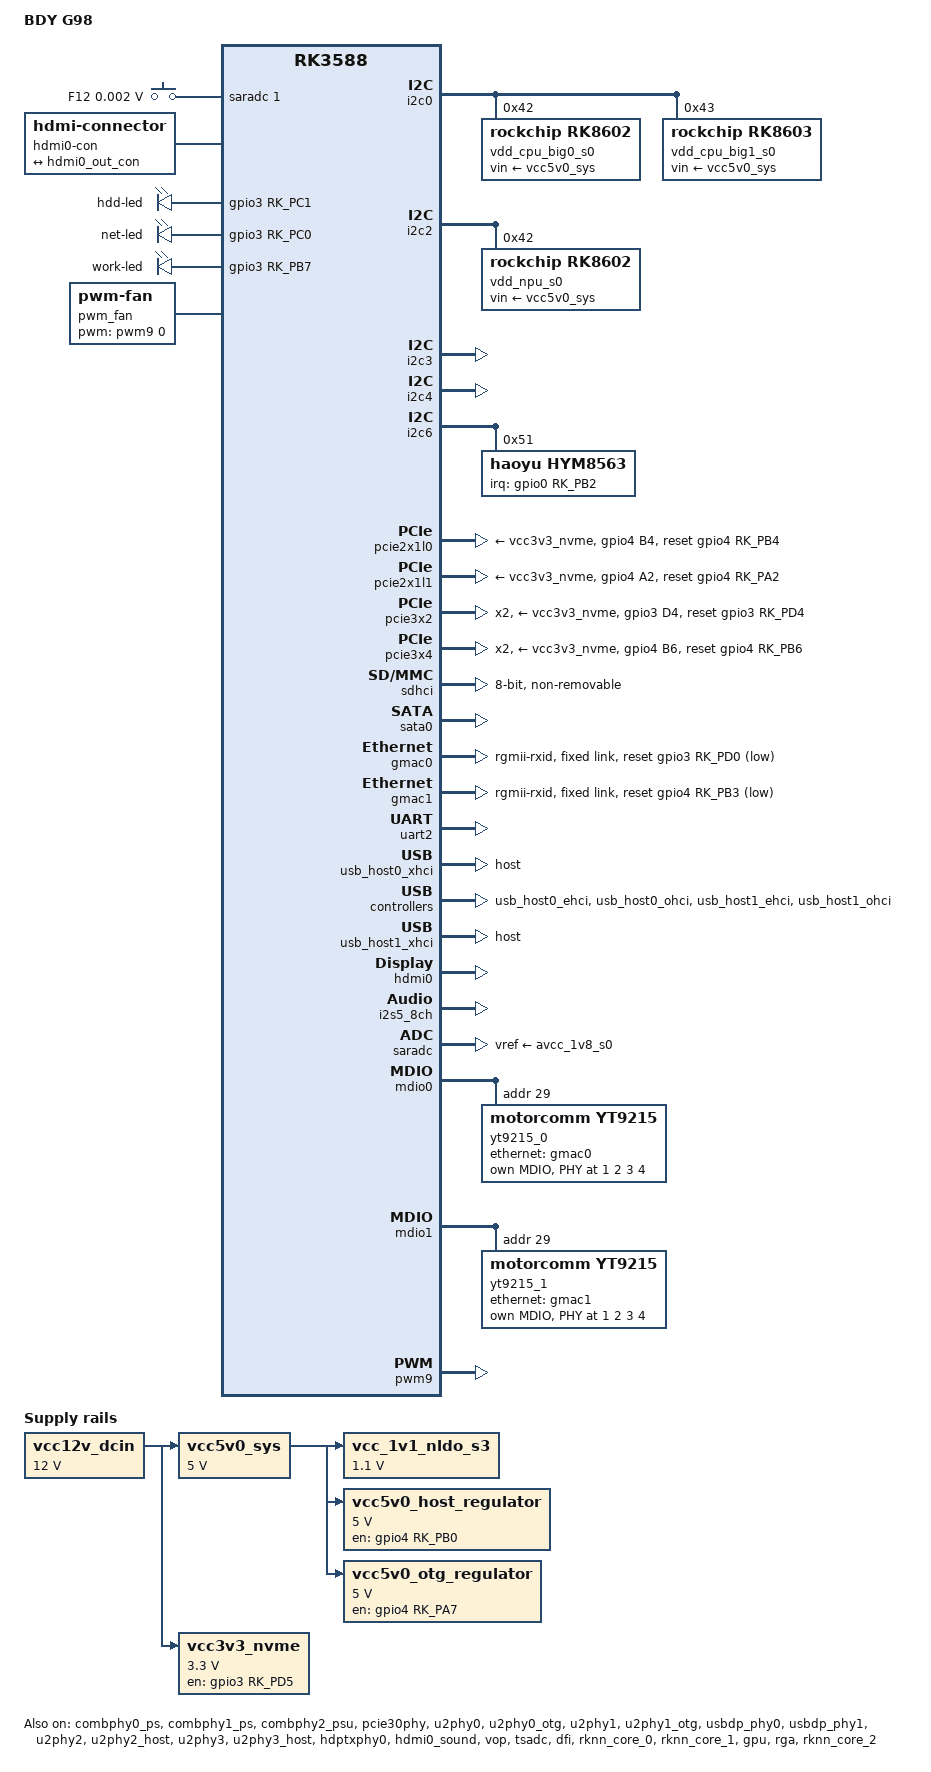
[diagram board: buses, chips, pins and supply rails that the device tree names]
// SPDX-License-Identifier: (GPL-2.0+ OR MIT)

/dts-v1/;

#include <dt-bindings/gpio/gpio.h>
#include <dt-bindings/input/input.h>
#include <dt-bindings/pinctrl/rockchip.h>
#include <dt-bindings/soc/rockchip,vop2.h>
#include "dt-bindings/usb/pd.h"
#include "rk3588.dtsi"
#include "rk3588-rk806-single.dtsi"
#include "rk3588s-ip.dtsi"
#include "rk3588s-ip-supply.dtsi"
#include "rk3588-ramoops.dtsi"

/ {
	model = "BDY G98";
	compatible = "bdy,bdy-g98", "rockchip,rk3588";

	aliases {
		mmc0 = &sdmmc;
		mmc1 = &sdio;
		mmc2 = &sdhci;
		ethernet0 = &gmac0;
		ethernet1 = &gmac1;
	};

	chosen {
		stdout-path = "serial2:1500000n8";
	};

	reserved-memory {
		#address-cells = <2>;
		#size-cells = <2>;
		ranges;

		cma {
			compatible = "shared-dma-pool";
			reusable;
			alloc-ranges = <0x1 0x00000000 0x3 0x00000000>;
			size = <0x0 0x20000000>;
			linux,cma-default;
		};
	};

	adc-keys {
		compatible = "adc-keys";
		io-channel-names = "buttons";
		io-channels = <&saradc 1>;
		keyup-threshold-microvolt = <0x1b7740>;
		poll-interval = <0x64>;
		status = "okay";

		recovery-key {
			label = "F12";
			linux,code = <0x58>;
			press-threshold-microvolt = <0x6d6>;
		};
	};

	// vcc12v_dcin
	vcc12v_dcin: vcc12v-dcin {
		compatible = "regulator-fixed";
		regulator-always-on;
		regulator-boot-on;
		regulator-min-microvolt = <12000000>;
		regulator-max-microvolt = <12000000>;
		regulator-name = "vcc12v_dcin";
	};

	// vcc5v0_sys
	vcc5v0_sys: vcc5v0-sys {
		compatible = "regulator-fixed";
		regulator-always-on;
		regulator-boot-on;
		regulator-min-microvolt = <5000000>;
		regulator-max-microvolt = <5000000>;
		regulator-name = "vcc5v0_sys";
		vin-supply = <&vcc12v_dcin>;
	};

	// vcc_1v1_nldo_s3
	vcc_1v1_nldo_s3: regulator-vcc-1v1-nldo-s3 {
		compatible = "regulator-fixed";
		regulator-name = "vcc_1v1_nldo_s3";
		regulator-always-on;
		regulator-boot-on;
		regulator-min-microvolt = <1100000>;
		regulator-max-microvolt = <1100000>;
		vin-supply = <&vcc5v0_sys>;
	};

	// vcc3v3-pcie30
	vcc3v3_nvme: vcc3v3-nvme {
		compatible = "regulator-fixed";
		regulator-min-microvolt = <3300000>;
		regulator-max-microvolt = <3300000>;
		regulator-name = "vcc3v3_nvme";
		vin-supply = <&vcc12v_dcin>;
		enable-active-high;
		gpios = <&gpio3 RK_PD5 GPIO_ACTIVE_HIGH>;
		startup-delay-us = <7500>;
		pinctrl-names = "default";
		pinctrl-0 = <&nvme_power_en>;
	};

	// vcc5v0-host-regulator
	vcc5v0_host_regulator: vcc5v0-host-regulator {
		compatible = "regulator-fixed";
		enable-active-high;
		gpio = <&gpio4 RK_PB0 GPIO_ACTIVE_HIGH>;
	    pinctrl-names = "default";
	    pinctrl-0 = <&vcc5v0_host_en>;
		regulator-name = "vcc5v0_host";
		regulator-boot-on;
		regulator-always-on;
		regulator-min-microvolt = <5000000>;
		regulator-max-microvolt = <5000000>;
		vin-supply = <&vcc5v0_sys>;
	};

	// vcc5v0-otg-regulator
	vcc5v0_otg_regulator: vcc5v0-otg-regulator {
		compatible = "regulator-fixed";
		enable-active-high;
		gpio = <&gpio4 RK_PA7 GPIO_ACTIVE_HIGH>;
		pinctrl-names = "default";
	    pinctrl-0 = <&vcc5v0_otg_en>;
		regulator-min-microvolt = <5000000>;
		regulator-max-microvolt = <5000000>;
		regulator-name = "vcc5v0_otg";
		vin-supply = <&vcc5v0_sys>;
	};

	hdmi0-con {
		compatible = "hdmi-connector";
		type = "a";

		port {
			hdmi0_con_in: endpoint {
				remote-endpoint = <&hdmi0_out_con>;
			};
		};
	};

	leds {
		compatible = "gpio-leds";
		status = "okay";

		hdd-led {
			default-state = "off";
			gpios = <&gpio3 RK_PC1 GPIO_ACTIVE_HIGH>;
		};

		net-led {
			default-state = "off";
			gpios = <&gpio3 RK_PC0 GPIO_ACTIVE_HIGH>;
		};

		work-led {
			gpios = <&gpio3 RK_PB7 GPIO_ACTIVE_HIGH>;
			linux,default-trigger = "heartbeat";
		};
	};

	pwm_fan: pwm-fan {
		compatible = "pwm-fan";
		pwms = <&pwm9 0 50000 0>;
		#cooling-cells = <2>;
		pulses-per-revolution = <2>;
		status = "okay";
	};
};

/* ===== CPU Power ===== */

&cpu_l0 {
	cpu-supply = <&vdd_cpu_lit_s0>;
};

&cpu_l1 {
	cpu-supply = <&vdd_cpu_lit_s0>;
};

&cpu_l2 {
	cpu-supply = <&vdd_cpu_lit_s0>;
};

&cpu_l3 {
	cpu-supply = <&vdd_cpu_lit_s0>;
};

&cpu_b0 {
	cpu-supply = <&vdd_cpu_big0_s0>;
};

&cpu_b1 {
	cpu-supply = <&vdd_cpu_big0_s0>;
};

&cpu_b2 {
	cpu-supply = <&vdd_cpu_big1_s0>;
};

&cpu_b3 {
	cpu-supply = <&vdd_cpu_big1_s0>;
};

&i2c0 {
	pinctrl-names = "default";
	pinctrl-0 = <&i2c0m2_xfer>;
	status = "okay";

	vdd_cpu_big0_s0: regulator@42 {
		compatible = "rockchip,rk8602";
		reg = <0x42>;
		fcs,suspend-voltage-selector = <1>;
		regulator-name = "vdd_cpu_big0_s0";
		regulator-always-on;
		regulator-boot-on;
		regulator-min-microvolt = <550000>;
		regulator-max-microvolt = <1050000>;
		regulator-ramp-delay = <2300>;
		vin-supply = <&vcc5v0_sys>;

		regulator-state-mem {
			regulator-off-in-suspend;
		};
	};

	vdd_cpu_big1_s0: regulator@43 {
		compatible = "rockchip,rk8603", "rockchip,rk8602";
		reg = <0x43>;
		fcs,suspend-voltage-selector = <1>;
		regulator-name = "vdd_cpu_big1_s0";
		regulator-always-on;
		regulator-boot-on;
		regulator-min-microvolt = <550000>;
		regulator-max-microvolt = <1050000>;
		regulator-ramp-delay = <2300>;
		vin-supply = <&vcc5v0_sys>;

		regulator-state-mem {
			regulator-off-in-suspend;
		};
	};
};

/* ===== I2C / RTC ===== */

// i2c@fea90000
&i2c1 {
	pinctrl-names = "default";
	pinctrl-0 = <&i2c1m0_xfer>;
	status = "disabled";
};

// i2c2: i2c@feaa0000
&i2c2 {
	pinctrl-names = "default";
	pinctrl-0 = <&i2c2m0_xfer>;
	status = "okay";

	vdd_npu_s0: vdd_npu_mem_s0: regulator@42 {
		compatible = "rockchip,rk8602";
		reg = <0x42>;
		fcs,suspend-voltage-selector = <1>;
		regulator-name = "vdd_npu_s0";
		regulator-always-on;
		regulator-boot-on;
		regulator-enable-ramp-delay = <500>;
		regulator-min-microvolt = <550000>;
		regulator-max-microvolt = <950000>;
		regulator-ramp-delay = <2300>;
		vin-supply = <&vcc5v0_sys>;

		regulator-state-mem {
			regulator-off-in-suspend;
		};
	};
};

// i2c3: i2c@feab0000
&i2c3 {
	pinctrl-names = "default";
	pinctrl-0 = <&i2c3m0_xfer>;
	status = "okay";
};

// i2c4: i2c@feac0000
&i2c4 {
	pinctrl-names = "default";
	pinctrl-0 = <&i2c4m3_xfer>;
	status = "okay";
};

// i2c6: i2c@fec80000
&i2c6 {
	pinctrl-names = "default";
	pinctrl-0 = <&i2c6m0_xfer>;
	status = "okay";

	hym8563: rtc@51 {
		compatible = "haoyu,hym8563";
		reg = <0x51>;
		#clock-cells = <0>;
		clock-output-names = "hym8563";
		pinctrl-names = "default";
		pinctrl-0 = <&hym8563_int>;
		interrupt-parent = <&gpio0>;
		interrupts = <RK_PB2 IRQ_TYPE_LEVEL_LOW>;
		wakeup-source;
	};
};

/* ===== PCIe ===== */

// phy: phy@fee00000
&combphy0_ps {
	pinctrl-0 = <&sata0_pm_reset>;
	pinctrl-names = "default";
	status = "okay";
};

// phy: phy@fee10000
&combphy1_ps {
	status = "okay";
};

// phy: phy@fee20000
&combphy2_psu {
	status = "okay";
};

// phy: phy@fee80000
&pcie30phy {
	data-lanes = <1 1 2 2>;
	status = "okay";
};

// pcie2x1l0: pcie@fe170000 -> RTL8125 (0002:21:00.0)
&pcie2x1l0 {
	pinctrl-names = "default";
	pinctrl-0 = <&pcie2_0_rst>;
	supports-clkreq;
	/* Some board revisions wire PERST# to GPIO4_PB4 instead of GPIO1_PB4 */
	reset-gpios = <&gpio4 RK_PB4 GPIO_ACTIVE_HIGH>;
	vpcie3v3-supply = <&vcc3v3_nvme>;
	status = "okay";

	pcie@0,0 {
		reg = <0x00200000 0 0 0 0>;
		#address-cells = <3>;
		#size-cells = <2>;
		bus-range = <0x20 0x2f>;
		device_type = "pci";
		ranges;

		ethernet@0,0 {
			reg = <0x00210000 0 0 0 0>;
			r8125,led0 = <0x22b>;
			r8125,led1 = <0x22b>;
			r8125,led2 = <0x22b>;
			r8125,led3 = <0x22b>;
		};
	};
};

// pcie2x1l1: pcie@fe180000 -> RTL8125 (0003:31:00.0)
&pcie2x1l1 {
	pinctrl-names = "default";
	pinctrl-0 = <&pcie2_1_rst>;
	supports-clkreq;
	reset-gpios = <&gpio4 RK_PA2 GPIO_ACTIVE_HIGH>;
	vpcie3v3-supply = <&vcc3v3_nvme>;
	status = "okay";

	/* Same blank-EEPROM LED fix as pcie2x1l0 (endpoint 0003:31:00.0) */
	pcie@0,0 {
		reg = <0x00300000 0 0 0 0>;
		#address-cells = <3>;
		#size-cells = <2>;
		bus-range = <0x30 0x3f>;
		device_type = "pci";
		ranges;

		ethernet@0,0 {
			reg = <0x00310000 0 0 0 0>;
			r8125,led0 = <0x22b>;
			r8125,led1 = <0x22b>;
			r8125,led2 = <0x22b>;
			r8125,led3 = <0x22b>;
		};
	};
};

// pcie2x1l2: pcie@fe190000
&pcie2x1l2 {
	status = "disabled";
};

// pcie3x2: pcie@fe160000
&pcie3x2 {
	pinctrl-names = "default";
	pinctrl-0 = <&pcie3x2_rst>;
	num-lanes = <2>;
	reset-gpios = <&gpio3 RK_PD4 GPIO_ACTIVE_HIGH>;
	vpcie3v3-supply = <&vcc3v3_nvme>;
	status = "okay";
};

// pcie3x4: pcie@fe150000
&pcie3x4 {
	pinctrl-names = "default";
	pinctrl-0 = <&pcie3x4_rst>;
	num-lanes = <2>;
	reset-gpios = <&gpio4 RK_PB6 GPIO_ACTIVE_HIGH>;
	vpcie3v3-supply = <&vcc3v3_nvme>;
	status = "okay";
};

/* ===== Pin Control ===== */

&pinctrl {
	hym8563 {
		hym8563_int: hym8563-int {
			rockchip,pins = <0 RK_PB2 RK_FUNC_GPIO &pcfg_pull_up>;
		};
	};

	pcie {
		pcie2_0_rst: pcie2-0-rst {
			rockchip,pins = <4 RK_PB4 RK_FUNC_GPIO &pcfg_pull_none>;
		};

		pcie2_1_rst: pcie2-1-rst {
			rockchip,pins = <4 RK_PA2 RK_FUNC_GPIO &pcfg_pull_none>;
		};

		pcie3x2_rst: pcie3x2-rst {
			rockchip,pins = <3 RK_PD4 RK_FUNC_GPIO &pcfg_pull_none>;
		};

		pcie3x4_rst: pcie3x4-rst {
			rockchip,pins = <4 RK_PB6 RK_FUNC_GPIO &pcfg_pull_none>;
		};
	};

	nvme {
		nvme_power_en: nvme-power-en {
			rockchip,pins = <3 RK_PD5 RK_FUNC_GPIO &pcfg_pull_none>;
		};
	};

	usb {
		vcc5v0_host_en: vcc5v0-host-en {
			rockchip,pins = <4 RK_PB0 RK_FUNC_GPIO &pcfg_pull_none>;
		};

		vcc5v0_otg_en: vcc5v0-otg-en {
			rockchip,pins = <4 RK_PA7 RK_FUNC_GPIO &pcfg_pull_none>;
		};
	};

	sata {
		sata0_pm_reset: sata0-pm-reset {
			rockchip,pins = <0 RK_PD5 RK_FUNC_GPIO &pcfg_output_high>;
		};
	};
};

/* ===== Storage ===== */

// sdhci: mmc@fe2e0000
&sdhci {
	bus-width = <8>;
	no-sdio;
	no-sd;
	supports-emmc;
	non-removable;
	mmc-hs200-1_8v;
	status = "okay";
};

// sdmmc: mmc@fe2c0000
&sdmmc {
	status = "disabled";
};

// sdio: mmc@fe2d0000
&sdio {
	/delete-property/ pinctrl-0;
	/delete-property/ pinctrl-names;
	status = "disabled";
};

/* ===== SATA ===== */

// sata0: sata@fe210000
&sata0 {
	status = "okay";
};

/* ===== Ethernet ===== */

// gmac0: ethernet@fe1b0000
&gmac0 {
	clock_in_out = "output";
	phy-mode = "rgmii-rxid";
	tx_delay = <0x44>;
	pinctrl-0 = <&gmac0_miim &gmac0_tx_bus2 &gmac0_rx_bus2 &gmac0_rgmii_clk &gmac0_rgmii_bus>;
	pinctrl-names = "default";
	snps,reset-active-low;
	snps,reset-delays-us = <0x00 0x4e20 0x186a0>;
	snps,reset-gpio = <&gpio3 RK_PD0 GPIO_ACTIVE_LOW>;
	status = "okay";

	fixed-link {
		speed = <1000>;
		full-duplex;
		pause;
	};
};

// gmac1: ethernet@fe1c0000
&gmac1 {
	clock_in_out = "output";
	phy-mode = "rgmii-rxid";
	tx_delay = <0x42>;
	pinctrl-0 = <&gmac1_miim &gmac1_tx_bus2 &gmac1_rx_bus2 &gmac1_rgmii_clk &gmac1_rgmii_bus>;
	pinctrl-names = "default";
	snps,reset-active-low;
	snps,reset-delays-us = <0x00 0x4e20 0x186a0>;
	snps,reset-gpio = <&gpio4 RK_PB3 GPIO_ACTIVE_LOW>;
	status = "okay";

	fixed-link {
		speed = <1000>;
		full-duplex;
		pause;
	};
};

/* ===== UART ===== */

&uart2 {
	pinctrl-0 = <&uart2m0_xfer>;
	status = "okay";
};

/* uart7m2 (feba0000) muxes to GPIO1_PB4/PB5. Historically pcie2_0_rst
 * was on GPIO1_PB4 and uart7 probing would steal the pinctrl, taking
 * the first 2.5G NIC down. Keep uart7 disabled: some board revisions
 * still use that pinout.
 */
&uart7 {
	status = "disabled";
};

/* ===== USB ===== */
&u2phy0 {
	status = "okay";
};

&u2phy0_otg {
	phy-supply = <&vcc5v0_otg_regulator>;
	status = "okay";
};

&u2phy1 {
	status = "okay";
};

&u2phy1_otg {
	phy-supply = <&vcc5v0_host_regulator>;
	status = "okay";
};

// usbdp_phy0: phy@fed80000
&usbdp_phy0 {
	rockchip,dp-lane-mux = <2 3>;
	status = "okay";

	u3-port {
		#phy-cells = <0x00>;
		maximum-speed = "super-speed";
		status = "okay";
	};
};

// usbdp_phy1: phy@fed90000
&usbdp_phy1 {
	rockchip,dp-lane-mux = <2 3>;
	status = "okay";

	u3-port {
		#phy-cells = <0x00>;
		maximum-speed = "super-speed";
		status = "okay";
	};
};

// u2phy2: usb2phy@8000
&u2phy2 {
	status = "okay";
};

&u2phy2_host{
	phy-supply = <&vcc5v0_host_regulator>;
	status = "okay";
};

// usb_host0_xhci: usb@fc000000
&usb_host0_xhci {
	dr_mode = "host";
	status = "okay";
};

// usb_host0_ehci: usb@fc800000
&usb_host0_ehci {
	status = "okay";
};

// usb_host0_ohci: usb@fc840000
&usb_host0_ohci {
	status = "okay";
};

// u2phy3: usb2phy@c000
&u2phy3 {
	status = "okay";
};

&u2phy3_host{
	phy-supply = <&vcc5v0_host_regulator>;
	status = "okay";
};

// usb_host1_xhci: usb@fc400000
&usb_host1_xhci {
	dr_mode = "host";
	status = "okay";
};

// usb_host1_ehci: usb@fc880000
&usb_host1_ehci {
	status = "okay";
};

// usb_host1_ohci: usb@fc8c0000
&usb_host1_ohci {
	status = "okay";
};

/* ===== HDMI / Display ===== */
// hdptxphy0: phy@fed60000
&hdptxphy0 {
	status = "okay";
};

// hdmi@fde80000
&hdmi0 {
	pinctrl-names = "default";
	pinctrl-0 = <&hdmim0_tx0_cec &hdmim0_tx0_hpd &hdmim0_tx0_scl &hdmim0_tx0_sda>;
	enable-gpios = <&gpio4 RK_PB1 GPIO_ACTIVE_HIGH>;
	status = "okay";
};

&hdmi0_in {
	hdmi0_in_vp0: endpoint {
		remote-endpoint = <&vp0_out_hdmi0>;
	};
};

&hdmi0_out {
	hdmi0_out_con: endpoint {
		remote-endpoint = <&hdmi0_con_in>;
	};
};

&i2s5_8ch {
	status = "okay";
};

&hdmi0_sound {
	status = "okay";
};

&vop_mmu {
	status = "okay";
};

&vop {
	status = "okay";
};

&vp0 {
	vp0_out_hdmi0: endpoint@ROCKCHIP_VOP2_EP_HDMI0 {
		reg = <ROCKCHIP_VOP2_EP_HDMI0>;
		remote-endpoint = <&hdmi0_in_vp0>;
	};
};

/* ===== Other ===== */

// saradc: adc@fec10000
&saradc {
	vref-supply = <&avcc_1v8_s0>;
	status = "okay";
};

// tsadc: tsadc@fec00000
&tsadc {
	status = "okay";
};

// dfi@fe060000
&dfi {
	status = "okay";
};

/* ===== Switch ===== */
&mdio0 {
	status = "okay";

	yt9215_0: switch@1d {
		compatible = "motorcomm,yt9215";
		reg = <0x1d>;
		dsa,member = <1 0>;
		motorcomm,bdy-g98-led-profile;

		mdio {
			#address-cells = <1>;
			#size-cells = <0>;

			sw1phy1: phy@1 { reg = <1>; };
			sw1phy2: phy@2 { reg = <2>; };
			sw1phy3: phy@3 { reg = <3>; };
			sw1phy4: phy@4 { reg = <4>; };
		};

		ethernet-ports {
			#address-cells = <1>;
			#size-cells = <0>;

			ethernet-port@1 {
				reg = <0x01>;
				label = "lan5";
				phy-mode = "internal";
				phy-handle = <&sw1phy1>;
			};

			ethernet-port@2 {
				reg = <0x02>;
				label = "lan6";
				phy-mode = "internal";
				phy-handle = <&sw1phy2>;
			};

			ethernet-port@3 {
				reg = <0x03>;
				label = "lan7";
				phy-mode = "internal";
				phy-handle = <&sw1phy3>;
			};

			ethernet-port@4 {
				reg = <0x04>;
				label = "lan8";
				phy-mode = "internal";
				phy-handle = <&sw1phy4>;
			};

			ethernet-port@9 {
				reg = <0x09>;
				ethernet = <&gmac0>;
				phy-mode = "rgmii-txid";

				fixed-link {
					speed = <1000>;
					full-duplex;
					pause;
				};
			};
		};
	};
};

&mdio1 {
	status = "okay";

	yt9215_1: switch@1d {
		compatible = "motorcomm,yt9215";
		reg = <0x1d>;
		dsa,member = <0 0>;
		motorcomm,bdy-g98-led-profile;

		mdio {
			#address-cells = <1>;
			#size-cells = <0>;

			sw0phy1: phy@1 { reg = <1>; };
			sw0phy2: phy@2 { reg = <2>; };
			sw0phy3: phy@3 { reg = <3>; };
			sw0phy4: phy@4 { reg = <4>; };
		};

		ethernet-ports {
			#address-cells = <0x01>;
			#size-cells = <0x00>;

			ethernet-port@1 {
				reg = <0x01>;
				label = "lan1";
				phy-mode = "internal";
				phy-handle = <&sw0phy1>;
			};

			ethernet-port@2 {
				reg = <0x02>;
				label = "lan2";
				phy-mode = "internal";
				phy-handle = <&sw0phy2>;
			};

			ethernet-port@3 {
				reg = <0x03>;
				label = "lan3";
				phy-mode = "internal";
				phy-handle = <&sw0phy3>;
			};

			ethernet-port@4 {
				reg = <0x04>;
				label = "lan4";
				phy-mode = "internal";
				phy-handle = <&sw0phy4>;
			};

			ethernet-port@9 {
				reg = <0x09>;
				ethernet = <&gmac1>;
				phy-mode = "rgmii-txid";

				fixed-link {
					speed = <1000>;
					full-duplex;
					pause;
				};
			};
		};
  };
};

/* ===== NPU (RKNN, 3 cores) ===== */
&rknn_core_0 {
	compatible = "rockchip,rk3588-rknn-core";
	reg = <0x0 0xfdab0000 0x0 0x1000>,
	      <0x0 0xfdab1000 0x0 0x1000>,
	      <0x0 0xfdab3000 0x0 0x1000>;
	reg-names = "pc", "cna", "core";
	interrupts = <GIC_SPI 110 IRQ_TYPE_LEVEL_HIGH 0>;
	/delete-property/ interrupt-names;
	clocks = <&cru ACLK_NPU0>, <&cru HCLK_NPU0>,
		 <&scmi_clk SCMI_CLK_NPU>, <&cru PCLK_NPU_ROOT>;
	clock-names = "aclk", "hclk", "npu", "pclk";
	resets = <&cru SRST_A_RKNN0>, <&cru SRST_H_RKNN0>;
	reset-names = "srst_a", "srst_h";
	power-domains = <&power RK3588_PD_NPUTOP>;
	/delete-property/ power-domain-names;
	/delete-property/ operating-points-v2;
	/delete-property/ rknpu-supply;
	/delete-property/ mem-supply;
	iommus = <&rknn_mmu_0>;
	npu-supply = <&vdd_npu_s0>;
	sram-supply = <&vdd_npu_s0>;
	status = "okay";
};

&rknn_mmu_0 {
	compatible = "rockchip,rk3588-iommu", "rockchip,rk3568-iommu";
	reg = <0x0 0xfdab9000 0x0 0x100>,
	      <0x0 0xfdaba000 0x0 0x100>;
	interrupts = <GIC_SPI 110 IRQ_TYPE_LEVEL_HIGH 0>;
	/delete-property/ interrupt-names;
	clocks = <&cru ACLK_NPU0>, <&cru HCLK_NPU0>;
	clock-names = "aclk", "iface";
	status = "okay";
};

&rknn_core_1 {
	npu-supply = <&vdd_npu_s0>;
	sram-supply = <&vdd_npu_s0>;
	status = "okay";
};

/* ===== GPU (Mali-G610) ===== */
&gpu {
	compatible = "rockchip,rk3588-mali", "arm,mali-valhall-csf";
	clocks = <&cru CLK_GPU>, <&cru CLK_GPU_COREGROUP>,
		 <&cru CLK_GPU_STACKS>;
	clock-names = "core", "coregroup", "stacks";
	interrupts = <GIC_SPI 92 IRQ_TYPE_LEVEL_HIGH 0>,
		     <GIC_SPI 93 IRQ_TYPE_LEVEL_HIGH 0>,
		     <GIC_SPI 94 IRQ_TYPE_LEVEL_HIGH 0>;
	interrupt-names = "job", "mmu", "gpu";
	/*
	 * panthor registers only one OPP supply, so the default
	 * gpu_opp_table_panthor (2 supplies, 6-cell opp-microvolt rows)
	 * is rejected with -EINVAL and the probe fails. Point to the
	 * single-supply table from rk3588-opp.dtsi instead.
	 */
	operating-points-v2 = <&gpu_opp_table>;
	status = "okay";
};

/*
 * rk3588s-vpu.dtsi adds rkvdec-sram@0/@78000 pools that fully overlap the
 * codec-sram@0/@78000 pools from rk3588-base.dtsi, so mmio-sram fails to
 * register them. Drop the duplicate rkvdec pools and let the rkvdec cores
 * share the codec pools instead.
 */
&system_sram2 {
	/delete-node/ rkvdec-sram@0;
	/delete-node/ rkvdec-sram@78000;
};

&rkvdec0 {
	rockchip,sram = <&vdec0_sram>;
};

&rkvdec1 {
	rockchip,sram = <&vdec1_sram>;
};

/* ===== RGA (2D accelerator) ===== */
&rga {
	compatible = "rockchip,rk3588-rga", "rockchip,rk3288-rga";
	reg = <0x0 0xfdb80000 0x0 0x180>;
	/delete-property/ interrupt-names;
	clocks = <&cru ACLK_RGA2>, <&cru HCLK_RGA2>, <&cru CLK_RGA2_CORE>;
	clock-names = "aclk", "hclk", "sclk";
	status = "okay";
};

&rknn_mmu_1 {
	status = "okay";
};

&rknn_core_2 {
	npu-supply = <&vdd_npu_s0>;
	sram-supply = <&vdd_npu_s0>;
	status = "okay";
};

&rknn_mmu_2 {
	status = "okay";
};

/* ===== PWM Fan Controller ===== */
&pwm9 {
	pinctrl-names = "default";
	pinctrl-0 = <&pwm9m1_pins>;
	status = "okay";
};

